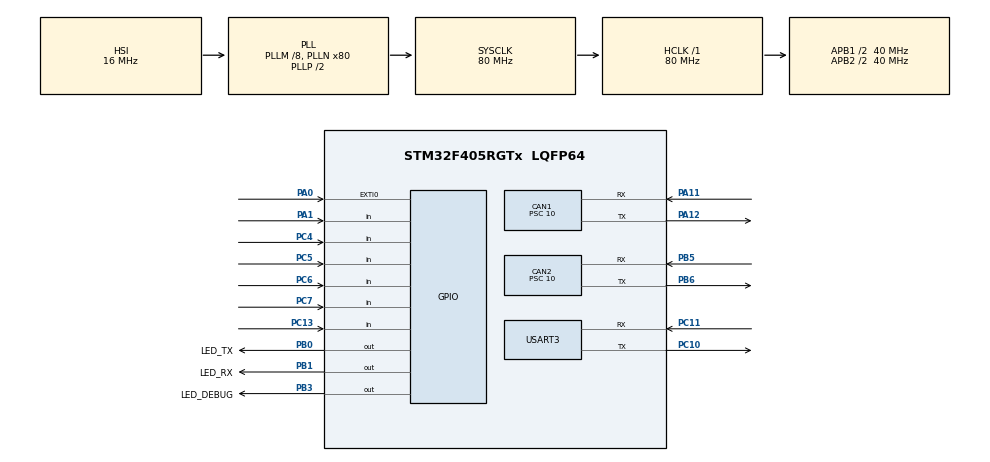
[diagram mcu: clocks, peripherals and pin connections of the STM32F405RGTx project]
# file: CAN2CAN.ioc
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CAN1.BS1=CAN_BS1_5TQ
CAN1.BS2=CAN_BS2_2TQ
CAN1.CalculateBaudRate=500000
CAN1.CalculateTimeBit=2000
CAN1.CalculateTimeQuantum=250.0
CAN1.Prescaler=10
CAN1.SJW=CAN_SJW_2TQ
CAN2.BS1=CAN_BS1_5TQ
CAN2.BS2=CAN_BS2_2TQ
CAN2.CalculateBaudRate=500000
CAN2.CalculateTimeBit=2000
CAN2.CalculateTimeQuantum=250.0
CAN2.Mode=CAN_MODE_NORMAL
CAN2.Prescaler=10
CAN2.SJW=CAN_SJW_2TQ
Mcu.Family=STM32F4
Mcu.Name=STM32F405RGTx
Mcu.Package=LQFP64
NVIC.CAN2_RX0_IRQn=true\:2\:0\:true\:false\:true\:true\:true\:true
NVIC.CAN2_RX1_IRQn=true\:0\:0\:false\:false\:true\:true\:true\:true
NVIC.EXTI0_IRQn=true\:1\:0\:true\:false\:true\:true\:true\:true
NVIC.PriorityGroup=NVIC_PRIORITYGROUP_4
NVIC.USART3_IRQn=true\:1\:0\:true\:false\:true\:true\:true\:true
PA0-WKUP.GPIO_ModeDefaultEXTI=GPIO_MODE_IT_FALLING
PA0-WKUP.GPIO_PuPd=GPIO_PULLUP
PA0-WKUP.Signal=GPXTI0
PA1.GPIO_PuPd=GPIO_PULLUP
PA1.Signal=GPIO_Input
PA11.Mode=CAN_Activate
PA11.Signal=CAN1_RX
PA12.Mode=CAN_Activate
PA12.Signal=CAN1_TX
PA13.Mode=Serial_Wire
PA13.Signal=SYS_JTMS-SWDIO
PA14.Mode=Serial_Wire
PA14.Signal=SYS_JTCK-SWCLK
PB0.GPIO_Label=LED_TX
PB0.Signal=GPIO_Output
PB1.GPIO_Label=LED_RX
PB1.Signal=GPIO_Output
PB3.GPIO_Label=LED_DEBUG
PB3.Signal=GPIO_Output
PB5.Mode=CAN_Activate
PB5.Signal=CAN2_RX
PB6.Mode=CAN_Activate
PB6.Signal=CAN2_TX
PC10.Mode=Asynchronous
PC10.Signal=USART3_TX
PC11.Mode=Asynchronous
PC11.Signal=USART3_RX
PC13-ANTI_TAMP.GPIO_PuPd=GPIO_PULLUP
PC13-ANTI_TAMP.Signal=GPIO_Input
PC4.GPIO_PuPd=GPIO_PULLUP
PC4.Signal=GPIO_Input
PC5.GPIO_PuPd=GPIO_PULLUP
PC5.Signal=GPIO_Input
PC6.GPIO_PuPd=GPIO_PULLUP
PC6.Signal=GPIO_Input
PC7.GPIO_PuPd=GPIO_PULLUP
PC7.Signal=GPIO_Input
PH0-OSC_IN.Mode=HSE-External-Oscillator
PH0-OSC_IN.Signal=RCC_OSC_IN
PH1-OSC_OUT.Mode=HSE-External-Oscillator
PH1-OSC_OUT.Signal=RCC_OSC_OUT
ProjectManager.HeapSize=0x200
ProjectManager.StackSize=0x400
ProjectManager.TargetToolchain=STM32CubeIDE
RCC.48MHZClocksFreq_Value=40000000
RCC.AHBFreq_Value=80000000
RCC.APB1CLKDivider=RCC_HCLK_DIV2
RCC.APB1Freq_Value=40000000
RCC.APB1TimFreq_Value=80000000
RCC.APB2CLKDivider=RCC_HCLK_DIV2
RCC.APB2Freq_Value=40000000
RCC.APB2TimFreq_Value=80000000
RCC.CortexFreq_Value=80000000
RCC.HCLKFreq_Value=80000000
RCC.HSE_VALUE=8000000
RCC.HSI_VALUE=16000000
RCC.LSE_VALUE=32768
RCC.PLLM=8
RCC.PLLN=80
RCC.SYSCLKFreq_VALUE=80000000
RCC.SYSCLKSource=RCC_SYSCLKSOURCE_PLLCLK
RCC.VCOOutputFreq_Value=160000000
USART3.VirtualMode=VM_ASYNC
board=custom

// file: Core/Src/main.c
/* USER CODE BEGIN Header */
/**
  ******************************************************************************
  * @file           : main.c
  * @brief          : Main program body
  ******************************************************************************
  * @attention
  *
  * Copyright (c) 2023 STMicroelectronics.
  * All rights reserved.
  *
  * This software is licensed under terms that can be found in the LICENSE file
  * in the root directory of this software component.
  * If no LICENSE file comes with this software, it is provided AS-IS.
  *
  ******************************************************************************
  */
/* USER CODE END Header */
#include "main.h"

CAN_HandleTypeDef hcan1;
CAN_HandleTypeDef hcan2;

UART_HandleTypeDef huart3;

/* USER CODE BEGIN PV */
uint8_t uart3_receive;

CAN_HandleTypeDef hcan1;
CAN_HandleTypeDef hcan2;
CAN_TxHeaderTypeDef CAN1_pHeader;
CAN_RxHeaderTypeDef CAN1_pHeaderRx;
CAN_FilterTypeDef CAN1_sFilterConfig;
CAN_TxHeaderTypeDef CAN2_pHeader;
CAN_RxHeaderTypeDef CAN2_pHeaderRx;
CAN_FilterTypeDef CAN2_sFilterConfig;
uint32_t CAN1_pTxMailbox;
uint32_t CAN2_pTxMailbox;

uint16_t NumBytesReq = 0;
uint8_t  REQ_BUFFER  [4096];
uint8_t  REQ_1BYTE_DATA;

uint8_t CAN1_DATA_TX[8] = {0x00,0x00,0x00,0x00,0x00,0x00,0x00,0x00};
uint8_t CAN1_DATA_RX[8] = {0x00,0x00,0x00,0x00,0x00,0x00,0x00,0x00};
uint8_t CAN2_DATA_TX[8] = {0x00,0x00,0x00,0x00,0x00,0x00,0x00,0x00};
uint8_t CAN2_DATA_RX[8] = {0x00,0x00,0x00,0x00,0x00,0x00,0x00,0x00};

uint16_t Num_Consecutive_Tester;
uint8_t  Flg_Consecutive = 0;
uint8_t data[2] = {0x00, 0x00};

unsigned int TimeStamp;
// maximum characters send out via UART is 30
char bufsend[30]="XXX: D1 D2 D3 D4 D5 D6 D7 D8  ";
/* USER CODE END PV */

void SystemClock_Config(void);
static void MX_GPIO_Init(void);
static void MX_CAN1_Init(void);
static void MX_CAN2_Init(void);
static void MX_USART3_UART_Init(void);
/* USER CODE BEGIN PFP */
void MX_CAN1_Setup();
void MX_CAN2_Setup();
void USART3_SendString(uint8_t *ch);
void PrintCANLog(uint16_t CANID, uint8_t * CAN_Frame);
void SID_22_Practice();
void SID_2E_Practice();
void SID_27_Practice();
void delay(uint16_t delay);
int calc_SAE_J1850(int data[], int Crc_len);
/* USER CODE END PFP */

/* USER CODE BEGIN 0 */

//CAN_TxHeaderTypeDef TxHeader;
//CAN_RxHeaderTypeDef RxHeader;
//
//uint8_t TxData[8];
//uint8_t RxData[8];
//
//uint32_t TxMailBox;

/* USER CODE END 0 */

int main(void)
{
  /* USER CODE BEGIN 1 */
	uint16_t i,j = 0;
	uint16_t Consecutive_Cntr = 0;
  /* USER CODE END 1 */

  /* MCU Configuration--------------------------------------------------------*/

  /* Reset of all peripherals, Initializes the Flash interface and the Systick. */
  HAL_Init();

  /* Configure the system clock */
  SystemClock_Config();

  /* Initialize all configured peripherals */
  MX_GPIO_Init();
  MX_CAN1_Init();
  MX_CAN2_Init();
  MX_USART3_UART_Init();
  /* USER CODE BEGIN 2 */
  __HAL_UART_ENABLE_IT(&huart3, UART_IT_RXNE);

  //can1
	CAN1_pHeader.StdId = 0x012; //12 gửi
	CAN1_pHeaderRx.StdId = 0x0A2;
	CAN1_pHeader.DLC = 8;
	CAN1_pHeader.ExtId = 0;
	CAN1_pHeader.IDE = CAN_ID_STD;
	CAN1_pHeader.RTR = CAN_RTR_DATA;
	CAN1_pHeader.TransmitGlobalTime = DISABLE;
	HAL_CAN_AddTxMessage(&hcan1, &CAN1_pHeader, CAN1_DATA_TX, &CAN1_pTxMailbox);

	//can2
	CAN2_pHeader.StdId = 0x0A2;
	CAN2_pHeaderRx.StdId = 0x012;
	CAN2_pHeader.DLC = 8;
	CAN2_pHeader.ExtId = 0;
	CAN2_pHeader.IDE = CAN_ID_STD;
	CAN2_pHeader.RTR = CAN_RTR_DATA;
	CAN2_pHeader.TransmitGlobalTime = DISABLE;

	CAN2_sFilterConfig.FilterBank = 14;
	CAN2_sFilterConfig.FilterMode = CAN_FILTERMODE_IDMASK;
	CAN2_sFilterConfig.FilterFIFOAssignment = CAN_RX_FIFO0;
	CAN2_sFilterConfig.FilterIdHigh = 0;
	CAN2_sFilterConfig.FilterIdLow = 0x012;
	CAN2_sFilterConfig.FilterMaskIdHigh = 0;
	CAN2_sFilterConfig.FilterMaskIdLow = 0x7FF;
	CAN2_sFilterConfig.FilterScale = CAN_FILTERSCALE_16BIT;
	CAN2_sFilterConfig.FilterActivation = ENABLE;
	CAN2_sFilterConfig.SlaveStartFilterBank = 14;
	//

	MX_CAN1_Setup();
	MX_CAN2_Setup();
//	uint8_t temp_start = 0;
	HAL_UART_Receive_IT(&huart3, data, 2);
	HAL_GPIO_WritePin(LED_RX_GPIO_Port, LED_RX_Pin, 0);

  /* USER CODE END 2 */

  /* Infinite loop */
  /* USER CODE BEGIN WHILE */
  // Example Function to print can message via uart
//  PrintCANLog(CAN1_pHeader.StdId, &CAN1_DATA_TX[0]);
  while (1)
  {
    /* USER CODE END WHILE */

  }
}

void SystemClock_Config(void)
{
  RCC_OscInitTypeDef RCC_OscInitStruct = {0};
  RCC_ClkInitTypeDef RCC_ClkInitStruct = {0};

  /** Configure the main internal regulator output voltage
  */
  __HAL_RCC_PWR_CLK_ENABLE();
  __HAL_PWR_VOLTAGESCALING_CONFIG(PWR_REGULATOR_VOLTAGE_SCALE1);

  /** Initializes the RCC Oscillators according to the specified parameters
  * in the RCC_OscInitTypeDef structure.
  */
  RCC_OscInitStruct.OscillatorType = RCC_OSCILLATORTYPE_HSI;
  RCC_OscInitStruct.HSIState = RCC_HSI_ON;
  RCC_OscInitStruct.HSICalibrationValue = RCC_HSICALIBRATION_DEFAULT;
  RCC_OscInitStruct.PLL.PLLState = RCC_PLL_ON;
  RCC_OscInitStruct.PLL.PLLSource = RCC_PLLSOURCE_HSI;
  RCC_OscInitStruct.PLL.PLLM = 8;
  RCC_OscInitStruct.PLL.PLLN = 80;
  RCC_OscInitStruct.PLL.PLLP = RCC_PLLP_DIV2;
  RCC_OscInitStruct.PLL.PLLQ = 4;
  if (HAL_RCC_OscConfig(&RCC_OscInitStruct) != HAL_OK)
  {
    Error_Handler();
  }

  /** Initializes the CPU, AHB and APB buses clocks
  */
  RCC_ClkInitStruct.ClockType = RCC_CLOCKTYPE_HCLK|RCC_CLOCKTYPE_SYSCLK
                              |RCC_CLOCKTYPE_PCLK1|RCC_CLOCKTYPE_PCLK2;
  RCC_ClkInitStruct.SYSCLKSource = RCC_SYSCLKSOURCE_PLLCLK;
  RCC_ClkInitStruct.AHBCLKDivider = RCC_SYSCLK_DIV1;
  RCC_ClkInitStruct.APB1CLKDivider = RCC_HCLK_DIV2;
  RCC_ClkInitStruct.APB2CLKDivider = RCC_HCLK_DIV2;

  if (HAL_RCC_ClockConfig(&RCC_ClkInitStruct, FLASH_LATENCY_2) != HAL_OK)
  {
    Error_Handler();
  }
}

static void MX_CAN1_Init(void)
{

  hcan1.Instance = CAN1;
  hcan1.Init.Prescaler = 10;
  hcan1.Init.Mode = CAN_MODE_NORMAL;
  hcan1.Init.SyncJumpWidth = CAN_SJW_2TQ;
  hcan1.Init.TimeSeg1 = CAN_BS1_5TQ;
  hcan1.Init.TimeSeg2 = CAN_BS2_2TQ;
  hcan1.Init.TimeTriggeredMode = DISABLE;
  hcan1.Init.AutoBusOff = DISABLE;
  hcan1.Init.AutoWakeUp = DISABLE;
  hcan1.Init.AutoRetransmission = DISABLE;
  hcan1.Init.ReceiveFifoLocked = DISABLE;
  hcan1.Init.TransmitFifoPriority = DISABLE;
  if (HAL_CAN_Init(&hcan1) != HAL_OK)
  {
    Error_Handler();
  }

}

static void MX_CAN2_Init(void)
{

  hcan2.Instance = CAN2;
  hcan2.Init.Prescaler = 10;
  hcan2.Init.Mode = CAN_MODE_NORMAL;
  hcan2.Init.SyncJumpWidth = CAN_SJW_2TQ;
  hcan2.Init.TimeSeg1 = CAN_BS1_5TQ;
  hcan2.Init.TimeSeg2 = CAN_BS2_2TQ;
  hcan2.Init.TimeTriggeredMode = DISABLE;
  hcan2.Init.AutoBusOff = DISABLE;
  hcan2.Init.AutoWakeUp = DISABLE;
  hcan2.Init.AutoRetransmission = DISABLE;
  hcan2.Init.ReceiveFifoLocked = DISABLE;
  hcan2.Init.TransmitFifoPriority = DISABLE;
  if (HAL_CAN_Init(&hcan2) != HAL_OK)
  {
    Error_Handler();
  }

}

static void MX_USART3_UART_Init(void)
{

  huart3.Instance = USART3;
  huart3.Init.BaudRate = 115200;
  huart3.Init.WordLength = UART_WORDLENGTH_8B;
  huart3.Init.StopBits = UART_STOPBITS_1;
  huart3.Init.Parity = UART_PARITY_NONE;
  huart3.Init.Mode = UART_MODE_TX_RX;
  huart3.Init.HwFlowCtl = UART_HWCONTROL_NONE;
  huart3.Init.OverSampling = UART_OVERSAMPLING_16;
  if (HAL_UART_Init(&huart3) != HAL_OK)
  {
    Error_Handler();
  }

}

static void MX_GPIO_Init(void)
{
  GPIO_InitTypeDef GPIO_InitStruct = {0};

  /* GPIO Ports Clock Enable */
  __HAL_RCC_GPIOC_CLK_ENABLE();
  __HAL_RCC_GPIOH_CLK_ENABLE();
  __HAL_RCC_GPIOA_CLK_ENABLE();
  __HAL_RCC_GPIOB_CLK_ENABLE();

  /*Configure GPIO pin Output Level */
  HAL_GPIO_WritePin(GPIOB, LED_TX_Pin|LED_RX_Pin|LED_DEBUG_Pin, GPIO_PIN_RESET);

  /*Configure GPIO pins : PC13 PC4 PC5 PC6
                           PC7 */
  GPIO_InitStruct.Pin = GPIO_PIN_13|GPIO_PIN_4|GPIO_PIN_5|GPIO_PIN_6
                          |GPIO_PIN_7;
  GPIO_InitStruct.Mode = GPIO_MODE_INPUT;
  GPIO_InitStruct.Pull = GPIO_PULLUP;
  HAL_GPIO_Init(GPIOC, &GPIO_InitStruct);

  /*Configure GPIO pin : PA0 */
  GPIO_InitStruct.Pin = GPIO_PIN_0;
  GPIO_InitStruct.Mode = GPIO_MODE_IT_FALLING;
  GPIO_InitStruct.Pull = GPIO_PULLUP;
  HAL_GPIO_Init(GPIOA, &GPIO_InitStruct);

  /*Configure GPIO pin : PA1 */
  GPIO_InitStruct.Pin = GPIO_PIN_1;
  GPIO_InitStruct.Mode = GPIO_MODE_INPUT;
  GPIO_InitStruct.Pull = GPIO_PULLUP;
  HAL_GPIO_Init(GPIOA, &GPIO_InitStruct);

  /*Configure GPIO pins : LED_TX_Pin LED_RX_Pin LED_DEBUG_Pin */
  GPIO_InitStruct.Pin = LED_TX_Pin|LED_RX_Pin|LED_DEBUG_Pin;
  GPIO_InitStruct.Mode = GPIO_MODE_OUTPUT_PP;
  GPIO_InitStruct.Pull = GPIO_NOPULL;
  GPIO_InitStruct.Speed = GPIO_SPEED_FREQ_LOW;
  HAL_GPIO_Init(GPIOB, &GPIO_InitStruct);

  /* EXTI interrupt init*/
  HAL_NVIC_SetPriority(EXTI0_IRQn, 1, 0);
  HAL_NVIC_EnableIRQ(EXTI0_IRQn);

}

/* USER CODE BEGIN 4 */

void MX_CAN1_Setup()
{
	HAL_CAN_ConfigFilter(&hcan1, &CAN1_sFilterConfig);
	HAL_CAN_Start(&hcan1);
	HAL_CAN_ActivateNotification(&hcan1, CAN_IT_RX_FIFO0_MSG_PENDING);
}
void MX_CAN2_Setup() //RX
{
	HAL_CAN_ConfigFilter(&hcan2, &CAN2_sFilterConfig);
	HAL_CAN_Start(&hcan2);
	HAL_CAN_ActivateNotification(&hcan2, CAN_IT_RX_FIFO0_MSG_PENDING);
}

void USART3_SendString(uint8_t *ch)
{
   while(*ch!=0)
   {
      HAL_UART_Transmit(&huart3, ch, 1,HAL_MAX_DELAY);
      ch++;
   }
}
void PrintCANLog(uint16_t CANID, uint8_t * CAN_Frame)
{
	uint16_t loopIndx = 0;
	char bufID[3] = "   ";
	char bufDat[2] = "  ";
	char bufTime [8]="        ";

	sprintf(bufTime,"%d",TimeStamp);
	USART3_SendString((uint8_t*)bufTime);
	USART3_SendString((uint8_t*)" ");

	sprintf(bufID,"%X",CANID);
	for(loopIndx = 0; loopIndx < 3; loopIndx ++)
	{
		bufsend[loopIndx]  = bufID[loopIndx];
	}
	bufsend[3] = ':';
	bufsend[4] = ' ';

	for(loopIndx = 0; loopIndx < 8; loopIndx ++ )
	{
		sprintf(bufDat,"%02X",CAN_Frame[loopIndx]);
		bufsend[loopIndx*3 + 5] = bufDat[0];
		bufsend[loopIndx*3 + 6] = bufDat[1];
		bufsend[loopIndx*3 + 7] = ' ';
	}
	bufsend[29] = '\n';
	USART3_SendString((unsigned char*)bufsend);
}
void HAL_UART_RxCpltCallback(UART_HandleTypeDef *huart)
{
//	REQ_BUFFER[NumBytesReq] = REQ_1BYTE_DATA;
//	NumBytesReq++;
	HAL_UART_Receive_IT(&huart3, data, 2);
	CAN1_DATA_TX[0] = data[0];
	CAN1_DATA_TX[1] = data[1];
	HAL_CAN_AddTxMessage(&hcan1, &CAN1_pHeader, CAN1_DATA_TX, &CAN1_pTxMailbox);
	HAL_GPIO_TogglePin(LED_TX_GPIO_Port, LED_TX_Pin);

	//REQ_BUFFER[7] = NumBytesReq;

}
void delay(uint16_t delay)
{
	HAL_Delay(delay);
}

void HAL_CAN_RxFifo0MsgPendingCallback(CAN_HandleTypeDef *hcan)
{
	HAL_CAN_GetRxMessage(hcan, CAN_RX_FIFO0, &CAN2_pHeaderRx, CAN2_DATA_RX);
	for(int i = 2; i< 8; i++){
		CAN2_DATA_RX[i] = CAN2_DATA_RX[i-1] + CAN2_DATA_RX[i-2];
	}
	HAL_GPIO_TogglePin(LED_RX_GPIO_Port, LED_RX_Pin);
	HAL_UART_Transmit(&huart3, CAN2_DATA_RX, 8, 10);
}

//int calc_SAE_J1850(int data[], int Crc_len){
//	int idx, crc, temp, temp1, temp2, idy;
//	crc = 0;
//	idy = 0;
//	temp = 0;
//	temp1 = 0;
//	temp2 = 0;
//	for(idx =0; idx < Crc_len+1; idx++){
//		if(idx == 0){
//			temp1 = 0;
//		}
//		else{
//			temp1 = data[Crc_len-idx];
//		}
//		crc = (crc^temp1);
//		for(idy = 8; idy >0; idy--){
//			temp2 = crc;
//			crc <<= 1;
//			if((temp2 & 128) != 0){
//				crc ^= 0x1D;
//			}
//		}
//	}
//	return crc;
//}
/* USER CODE END 4 */

void Error_Handler(void)
{
  __disable_irq();
  while (1)
  {
  }
}
